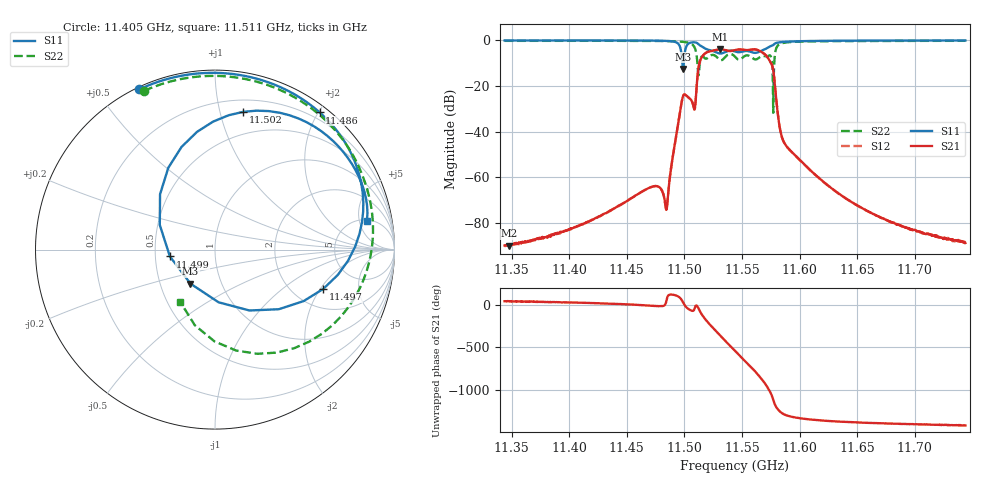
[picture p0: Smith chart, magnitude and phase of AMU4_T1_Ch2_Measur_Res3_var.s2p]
#  HZ  S  RI  R  50.00
! Rohde & Schwarz ZVA50 2Ports - Version 3.70 - 1145.1110k50 SN: 100192
! Date: 2025-08-07 12:47:22
! Measurements: S11 S21 S12 S22
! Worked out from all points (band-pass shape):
!   1001 points, 11.344 GHz to 11.744 GHz, reference 50 ohm
!   highest |S21| = -3.97 dB at 11.531 GHz (marker M1); lowest = -89.9 dB at 11.348 GHz (marker M2)
!   |S21| within 3 dB of the highest: 11.5158 GHz to 11.57145 GHz (55.65 MHz wide, 0.482 % of centre)
!   lowest |S11| = -12.6 dB at 11.499 GHz (marker M3), VSWR 1.61, Z = 35.6 - j14.3 ohm
!   |S11| at or under -10 dB: 11.4983 GHz to 11.49951 GHz (1.214 MHz wide, 0.0106 % of centre)
!   |S22| runs from -31.8 to -0.3 dB; largest |S21 - S12| = 0.0014
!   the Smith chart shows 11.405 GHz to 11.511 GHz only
!   S11 on the Smith chart (normalised r, x): 11.405 GHz: 0.01, +0.63; 11.486 GHz: 0.10, +2.02; 11.497 GHz: 2.86, -2.13; 11.499 GHz: 0.60, -0.05; 11.502 GHz: 0.30, +1.18; 11.511 GHz: 5.20, +6.52
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1.1344e10  -0.6736 0.7188  2.52e-05 2.05e-05  2.49e-05 2.02e-05  -0.6305 0.7337
1.1348e10  -0.6617 0.7307  2.48e-05 2.05e-05  2.69e-05 2.02e-05  -0.619 0.7439
1.14052e10  -0.4218 0.8924  7.5e-05 3.14e-05  7.43e-05 3.2e-05  -0.3944 0.8846
1.14108e10  -0.3894 0.9071  8.72e-05 3.4e-05  8.8e-05 3.27e-05  -0.3648 0.8974
1.14776e10  0.373 0.9012  0.000594 -0.0002  0.000592 -0.000201  0.3059 0.9121
1.14856e10  0.5829 0.7644  -4.06e-05 0.000341  -4.45e-05 0.000346  0.4767 0.8285
1.14968e10  0.603 -0.2191  0.0107 0.0306  0.0108 0.0306  0.7703 0.523
1.14988e10  -0.1368 -0.1897  0.0518 0.0276  0.0517 0.0276  0.8186 0.4203
1.14992e10  -0.2512 -0.0381  0.0592 0.0191  0.0591 0.0191  0.8275 0.3972
1.15024e10  0.1574 0.7676  0.0454 -0.0382  0.0453 -0.0381  0.8784 0.1679
1.15112e10  0.8468 0.1612  0.131 -0.0451  0.1307 -0.0449  -0.1928 -0.2927
1.15196e10  0.5341 -0.3375  -0.5276 0.14  -0.5266 0.1396  -0.3953 -0.0437
1.15312e10  -0.1631 -0.4841  0.6325 -0.0301  0.6312 -0.0296  0.1055 -0.3516
1.15364e10  -0.445 -0.3454  0.1299 -0.584  0.13 -0.5827  -0.4295 0.1435
1.1544e10  -0.5506 0.1343  -0.6077 0.00245  -0.6064 0.00215  0.4145 0.137
1.15568e10  -0.1001 0.5564  0.6168 0.0396  0.6154 0.0395  0.00917 0.4487
1.15632e10  0.2631 0.4669  3.16e-06 -0.6164  2.18e-05 -0.6151  0.1686 -0.349
1.15712e10  0.6407 -0.1499  -0.3012 0.3425  -0.3009 0.3414  0.0218 0.4416
1.15836e10  -0.3044 -0.8505  -0.0098 0.000114  -0.00975 0.000124  -0.1312 -0.8289
1.16108e10  -0.961 -0.00715  -2.54e-05 0.00133  -2.41e-05 0.00132  -0.941 0.0684
1.16776e10  -0.7183 0.6692  7.65e-05 7.77e-05  7.5e-05 7.81e-05  -0.6658 0.698
1.1744e10  -0.462 0.8716  3.36e-05 1.45e-05  3.51e-05 1.6e-05  -0.417 0.8749
